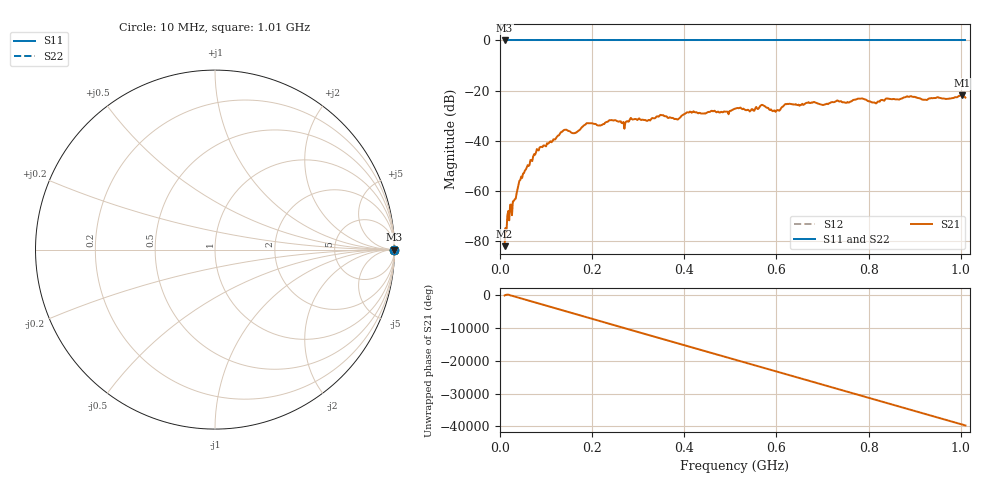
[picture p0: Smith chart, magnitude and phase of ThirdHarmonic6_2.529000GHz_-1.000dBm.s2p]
! 8/17/2025 5:02:01 AM
! C:\ANRITSUVNA\TEMP\TEMP.S2P
! CHANNEL.1
! TR.MEASUREMENT
! RAW.DATA
! RF.CORRECTION.OFF
! AVERAGING.OFF
! IF.BANDWIDTH: 5KHZ
! SWEEPTYPE:  FREQ.SWEEP(Linear)
! Reference Plane Port Info
! PORT:  PORT1  PORT2
! DISTANCE:  0  m  0  m
! TIME:  0  s  0  s
! PHASE.OFFSET:  0  deg.  0  deg.
! LOSS:  0  dB  0  dB
! REF.LOSS:  0  dB  0  dB
! REF.FREQ:  0  Hz  0  Hz
! Power Info
! POWER:  -20  dBm  -20  dBm
! EFF.POWER:  -20  dBm  -20  dBm
! SOURCE.ATTEN:  0  dB  0  dB
! TEST.ATTEN:  0  dB  0  dB
# GHZ S RI R 50.0
! FREQ.GHZ  S11RE  S11IM  S21RE  S21IM  S12RE  S12IM  S22RE  S22IM
!; PortSelection: Port_12
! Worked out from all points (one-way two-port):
!   501 points, 10 MHz to 1.01 GHz, reference 50 ohm
!   highest |S21| = -21.90 dB at 1.002 GHz (marker M1); lowest = -82.0 dB at 10 MHz (marker M2)
!   lowest |S11| = 0.0 dB at 10 MHz (marker M3)
!   |S11| at or under -10 dB: nowhere
!   |S22| runs from 0.0 to 0.0 dB; largest |S21 - S12| = 1.1
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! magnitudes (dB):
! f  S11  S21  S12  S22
! 10 MHz  0.0  -82.0  0.0  0.0
! 20 MHz  0.0  -71.7  0.0  0.0
! 30 MHz  0.0  -64.0  0.0  0.0
! 42 MHz  0.0  -56.0  0.0  0.0
! 76 MHz  0.0  -45.6  0.0  0.0
! 136 MHz  0.0  -36.2  0.0  0.0
! 162 MHz  0.0  -37.0  0.0  0.0
! 178 MHz  0.0  -34.6  0.0  0.0
! 344 MHz  0.0  -30.4  0.0  0.0
! 384 MHz  0.0  -31.5  0.0  0.0
! 410 MHz  0.0  -28.7  0.0  0.0
! 510 MHz  0.0  -27.2  0.0  0.0
! 546 MHz  0.0  -27.4  0.0  0.0
! 570 MHz  0.0  -25.7  0.0  0.0
! 596 MHz  0.0  -27.9  0.0  0.0
! 622 MHz  0.0  -25.4  0.0  0.0
! 678 MHz  0.0  -24.8  0.0  0.0
! 782 MHz  0.0  -23.2  0.0  0.0
! 814 MHz  0.0  -24.9  0.0  0.0
! 844 MHz  0.0  -23.2  0.0  0.0
! 1.002 GHz  0.0  -21.9  0.0  0.0
! 1.01 GHz  0.0  -22.8  0.0  0.0
